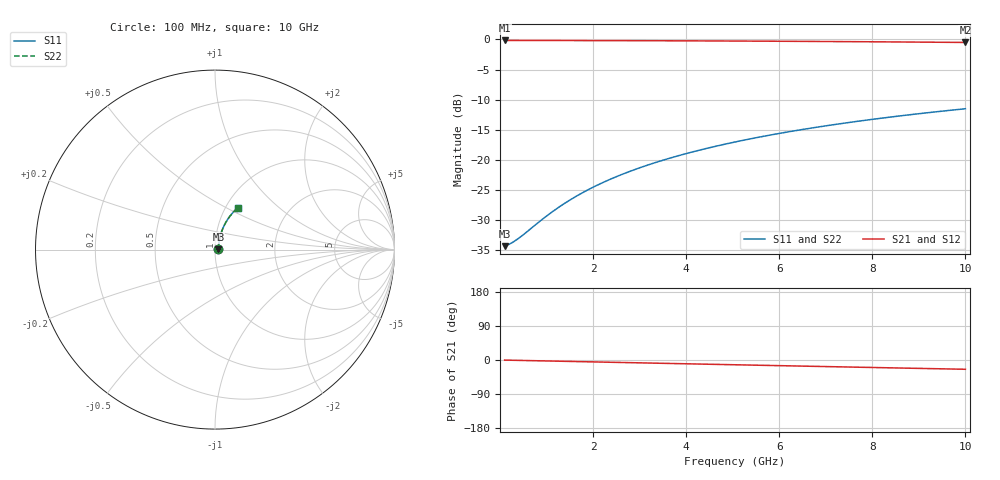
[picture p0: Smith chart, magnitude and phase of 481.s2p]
# Hz S RI R 50.00
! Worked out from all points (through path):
!   100 points, 100 MHz to 10 GHz, reference 50 ohm
!   highest |S21| = -0.17 dB at 100 MHz (marker M1); lowest = -0.5 dB at 10 GHz (marker M2)
!   group delay of S21, straight-line fit = 6.81 ps
!   lowest |S11| = -34.3 dB at 100 MHz (marker M3), VSWR 1.04, Z = 51.9 + j0.283 ohm
!   |S11| at or under -10 dB: start of sweep to end of sweep
!   |S22| runs from -34.3 to -11.5 dB; largest |S21 - S12| = 0
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1e8  0.019 0.00272  0.9809 -0.00429  0.9809 -0.00429  0.019 0.00272
2e8  0.0192 0.00544  0.9808 -0.00858  0.9808 -0.00858  0.0192 0.00544
3e8  0.0194 0.00816  0.9806 -0.0129  0.9806 -0.0129  0.0194 0.00816
4e8  0.0195 0.0109  0.9805 -0.0172  0.9805 -0.0172  0.0195 0.0109
1e9  0.0208 0.0271  0.9791 -0.0428  0.9791 -0.0428  0.0208 0.0271
1.3e9  0.0217 0.0352  0.978 -0.0557  0.978 -0.0557  0.0217 0.0352
1.5e9  0.0224 0.0406  0.9772 -0.0642  0.9772 -0.0642  0.0224 0.0406
1.8e9  0.0237 0.0486  0.9759 -0.0769  0.9759 -0.0769  0.0237 0.0486
2.1e9  0.0252 0.0566  0.9743 -0.0896  0.9743 -0.0896  0.0252 0.0566
2.5e9  0.0274 0.0672  0.9718 -0.1065  0.9718 -0.1065  0.0274 0.0672
2.9e9  0.03 0.0777  0.9689 -0.1233  0.9689 -0.1233  0.03 0.0777
3.4e9  0.0338 0.0906  0.9647 -0.1441  0.9647 -0.1441  0.0338 0.0906
3.8e9  0.0372 0.1008  0.961 -0.1606  0.961 -0.1606  0.0372 0.1008
4.2e9  0.0409 0.1109  0.9568 -0.177  0.9568 -0.177  0.0409 0.1109
4.6e9  0.045 0.1208  0.9523 -0.1932  0.9523 -0.1932  0.045 0.1208
5.1e9  0.0505 0.1329  0.9462 -0.2132  0.9462 -0.2132  0.0505 0.1329
5.9e9  0.0604 0.1517  0.9351 -0.2446  0.9351 -0.2446  0.0604 0.1517
6.7e9  0.0715 0.1697  0.9228 -0.2752  0.9228 -0.2752  0.0715 0.1697
7.5e9  0.0837 0.1867  0.9092 -0.3049  0.9092 -0.3049  0.0837 0.1867
8.4e9  0.0986 0.2046  0.8924 -0.3372  0.8924 -0.3372  0.0986 0.2046
9.2e9  0.1128 0.2195  0.8764 -0.3647  0.8764 -0.3647  0.1128 0.2195
1e10  0.1278 0.2332  0.8594 -0.3912  0.8594 -0.3912  0.1278 0.2332
